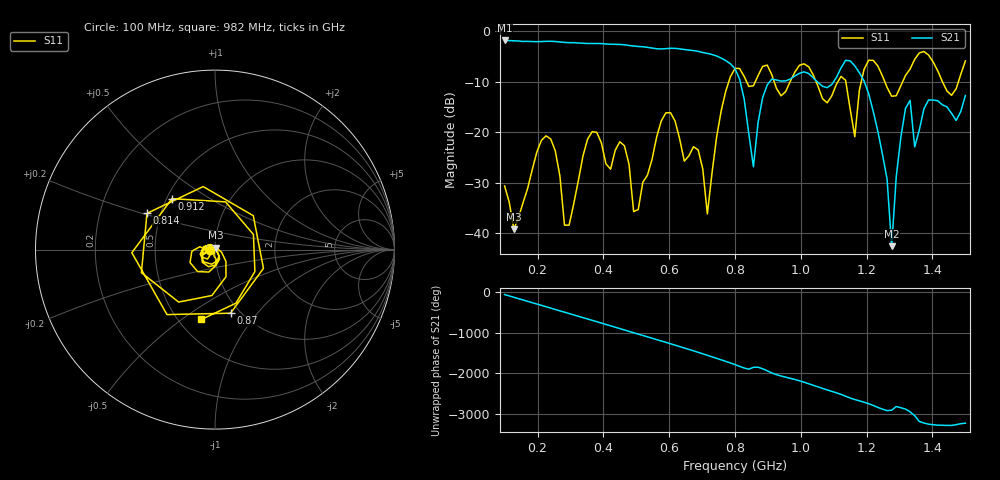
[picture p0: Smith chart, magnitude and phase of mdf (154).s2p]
! NanoVNA-App
! Date: 2025-09-26 09:40:56
! Start: 100MHz Stop: 1,5GHz Points: 101
! S-Parameter data: F S11 S21 S12 S22
# Hz S RI R 50
!  Frequency  S11_Real  S11_Imag  S21_Real  S21_Imag  S12_Real  S12_Imag  S22_Real  S22_Imag
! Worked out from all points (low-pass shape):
!   101 points, 100 MHz to 1.5 GHz, reference 50 ohm
!   highest |S21| = -1.79 dB at 100 MHz (marker M1); lowest = -42.6 dB at 1.276 GHz (marker M2)
!   |S21| within 3 dB of the highest: start of sweep to 740.5 MHz
!   lowest |S11| = -39.2 dB at 128 MHz (marker M3), VSWR 1.02, Z = 50.3 + j1.07 ohm
!   |S11| at or under -10 dB: start of sweep to 781 MHz; 1.047 GHz to 1.112 GHz (65.76 MHz wide, 6.09 % of centre); 1.255 GHz to 1.309 GHz (53.89 MHz wide, 4.2 % of centre)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
!   S12 and S22 are empty: the file has one direction only
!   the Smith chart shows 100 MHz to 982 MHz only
!   S11 on the Smith chart (normalised r, x): 100 MHz: 0.94, -0.01; 814 MHz: 0.42, +0.21; 870 MHz: 0.90, -0.74; 912 MHz: 0.53, +0.35; 982 MHz: 0.64, -0.59
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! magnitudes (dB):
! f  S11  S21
! 100 MHz  -30.6  -1.8
! 128 MHz  -39.2  -1.9
! 212 MHz  -21.6  -2.0
! 282 MHz  -38.4  -2.2
! 338 MHz  -24.7  -2.3
! 464 MHz  -22.7  -2.6
! 492 MHz  -35.7  -2.9
! 576 MHz  -17.7  -3.5
! 688 MHz  -23.5  -3.9
! 716 MHz  -36.2  -4.4
! 800 MHz  -7.3  -7.4
! 814 MHz  -7.3  -9.5
! 856 MHz  -10.8  -26.8
! 870 MHz  -8.8  -18.1
! 912 MHz  -8.6  -9.4
! 982 MHz  -8.0  -8.8
! 1.038 GHz  -8.7  -9.2
! 1.164 GHz  -20.9  -6.8
! 1.192 GHz  -7.6  -9.8
! 1.276 GHz  -12.8  -42.6
! 1.318 GHz  -8.7  -15.2
! 1.5 GHz  -5.8  -12.7
